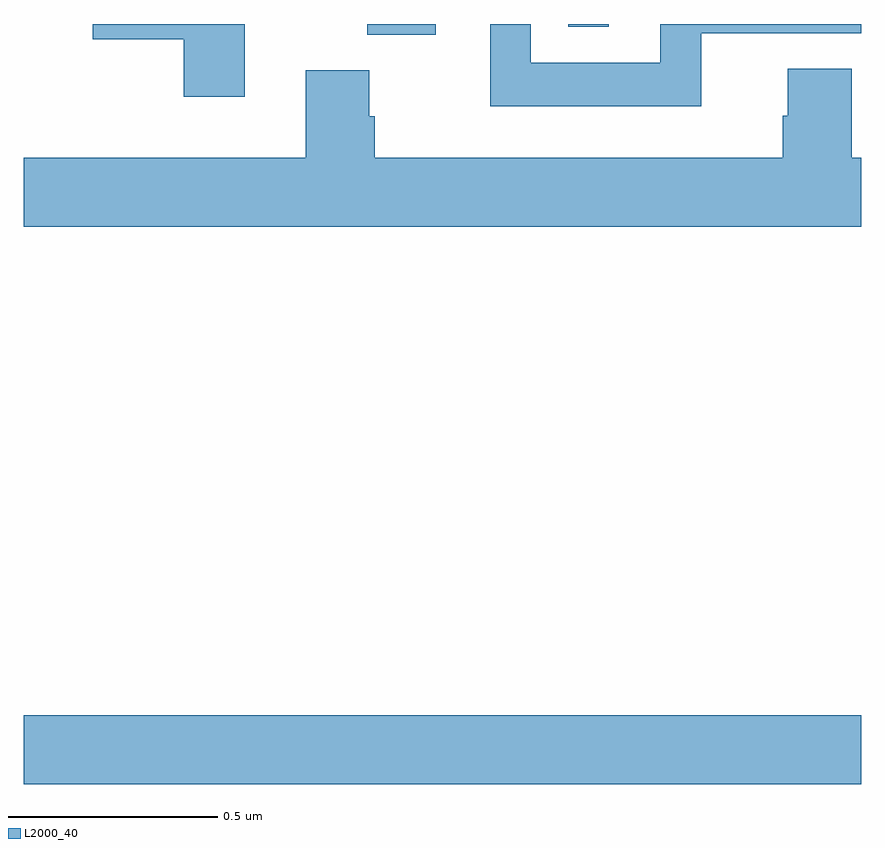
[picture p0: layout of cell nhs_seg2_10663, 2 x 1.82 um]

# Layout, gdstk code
import gdstk
lib = gdstk.Library(unit=1e-6, precision=1e-09)
def R(c, l, rs):  # rectangles x0, y0, x1, y1
    for r in rs: c.add(gdstk.rectangle(r[:2], r[2:], *l))
def P(c, l, *ps):  # polygons
    for p in ps: c.add(gdstk.Polygon(p, *l))
L2000_40 = (2000, 40)

nhs_seg2_10663 = lib.new_cell('nhs_seg2_10663')
R(nhs_seg2_10663, L2000_40, [(244,632.984,246,633.148), (244.82,634.774,244.984,634.8), (245.301,634.793,245.397,634.8)])
P(nhs_seg2_10663, L2000_40, [(245.618,634.778),(246,634.778),(246,634.8),(245.52,634.8),(245.52,634.708),(245.211,634.708),(245.211,634.8),(245.114,634.8),(245.114,634.604),(245.618,634.604)],
  [(244.528,634.8),(244.164,634.8),(244.164,634.763),(244.382,634.763),(244.382,634.626),(244.528,634.626)],
  [(244.825,634.58),(244.825,634.689),(244.673,634.689),(244.673,634.48),(244,634.48),(244,634.316),(246,634.316),(246,634.48),(245.978,634.48),(245.978,634.693),(245.825,634.693),(245.825,634.581),(245.813,634.581),(245.813,634.48),(244.838,634.48),(244.838,634.58)])

lib.write_gds('nhs_seg2_10663.gds')
